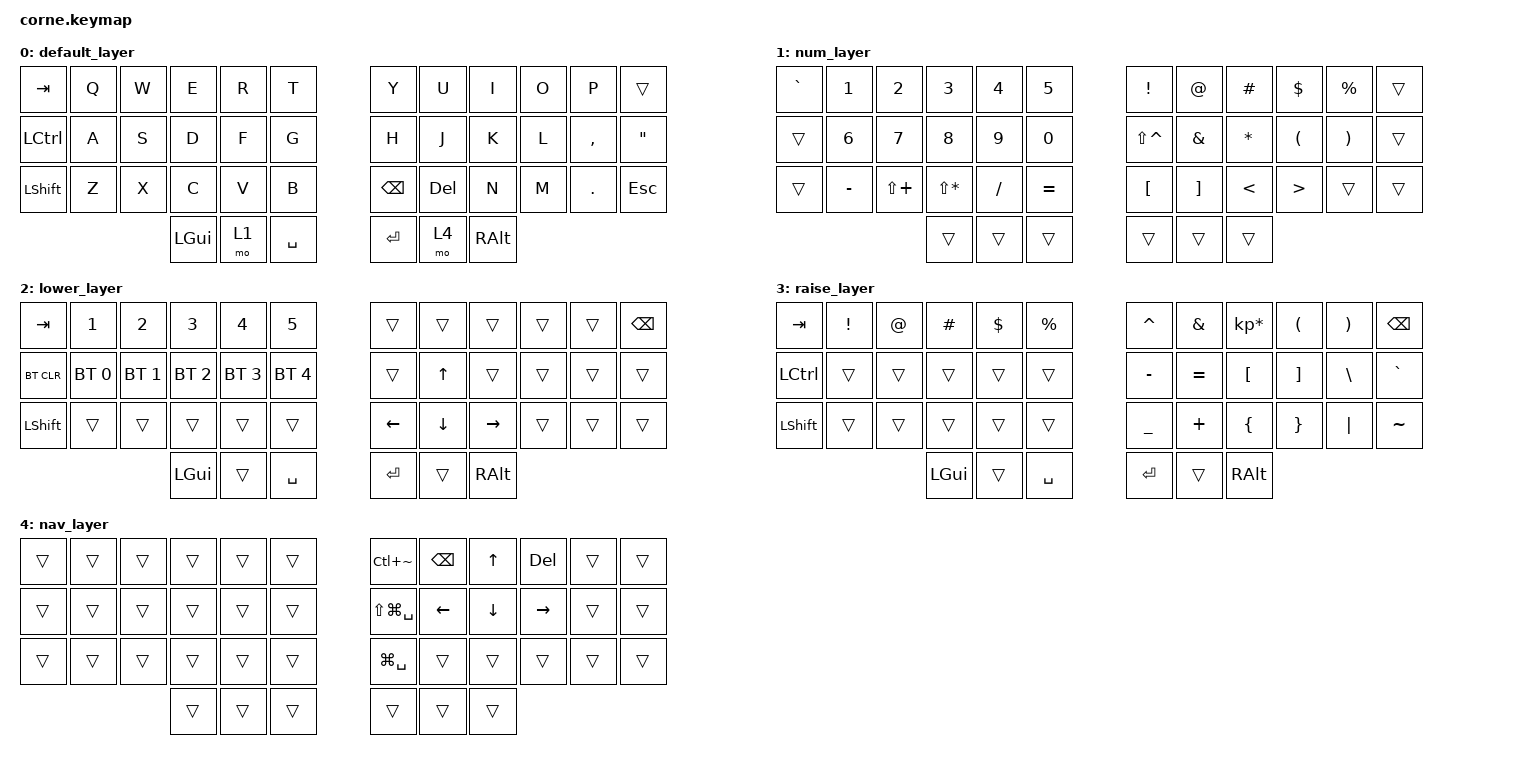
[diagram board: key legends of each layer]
/*
 * Copyright (c) 2020 The ZMK Contributors
 *
 * SPDX-License-Identifier: MIT
 */

#include <behaviors.dtsi>
#include <dt-bindings/zmk/bt.h>
#include <dt-bindings/zmk/keys.h>

#define DEFAULT 0
#define LOWER 1
#define RAISE 2

/ {
    keymap {
        compatible = "zmk,keymap";

        default_layer {
            // -----------------------------------------------------------------------------------------
            // |  TAB |  Q  |  W  |  E  |  R  |  T  |   |  Y  |  U   |  I  |  O  |  P  | BKSP |
            // | CTRL |  A  |  S  |  D  |  F  |  G  |   |  H  |  J   |  K  |  L  |  ;  |  '   |
            // | SHFT |  Z  |  X  |  C  |  V  |  B  |   |  N  |  M   |  ,  |  .  |  /  | ESC  |
            //                    | GUI | LWR | SPC |   | ENT | RSE  | ALT |

            bindings = <
&kp TAB    &kp Q  &kp W  &kp E     &kp R  &kp T        &kp Y     &kp U    &kp I     &kp O  &kp P      &trans
&kp LCTRL  &kp A  &kp S  &kp D     &kp F  &kp G        &kp H     &kp J    &kp K     &kp L  &kp COMMA  &kp DOUBLE_QUOTES
&kp LSHFT  &kp Z  &kp X  &kp C     &kp V  &kp B        &kp BSPC  &kp DEL  &kp N     &kp M  &kp DOT    &kp ESC
                         &kp LGUI  &mo 1  &kp SPACE    &kp RET   &mo 4    &kp RALT
            >;
        };

        num_layer {
            bindings = <
&kp GRAVE  &kp N1     &kp N2        &kp N3        &kp N4    &kp N5       &kp EXCLAMATION  &kp AT_SIGN        &kp POUND      &kp DOLLAR            &kp PERCENT            &trans
&trans     &kp N6     &kp N7        &kp N8        &kp N9    &kp N0       &kp LS(CARET)    &kp AMPERSAND      &kp ASTRK      &kp LEFT_PARENTHESIS  &kp RIGHT_PARENTHESIS  &trans
&trans     &kp MINUS  &kp LS(PLUS)  &kp LS(STAR)  &kp FSLH  &kp EQUAL    &kp LBKT         &kp RIGHT_BRACKET  &kp LESS_THAN  &kp GREATER_THAN      &trans                 &trans
                                    &trans        &trans    &trans       &trans           &trans             &trans
            >;
        };

        lower_layer {
            // -----------------------------------------------------------------------------------------
            // |  TAB |  1  |  2  |  3  |  4  |  5  |   |  6  |  7  |  8  |  9  |  0  | BKSP |
            // | BTCLR| BT1 | BT2 | BT3 | BT4 | BT5 |   |     | UP  |     |     |     |      |
            // | SHFT |     |     |     |     |     |   | LFT | DWN | RGT |     |     |      |
            //                    | GUI |     | SPC |   | ENT |     | ALT |

            bindings = <
&kp TAB     &kp N1        &kp N2        &kp N3        &kp N4        &kp N5          &trans    &trans    &trans     &trans  &trans  &kp BSPC
&bt BT_CLR  &bt BT_SEL 0  &bt BT_SEL 1  &bt BT_SEL 2  &bt BT_SEL 3  &bt BT_SEL 4    &trans    &kp UP    &trans     &trans  &trans  &trans
&kp LSHFT   &trans        &trans        &trans        &trans        &trans          &kp LEFT  &kp DOWN  &kp RIGHT  &trans  &trans  &trans
                                        &kp LGUI      &trans        &kp SPACE       &kp RET   &trans    &kp RALT
            >;
        };

        raise_layer {
            // -----------------------------------------------------------------------------------------
            // |  TAB |  !  |  @  |  #  |  $  |  %  |   |  ^  |  &  |  *  |  (  |  )  | BKSP |
            // | CTRL |     |     |     |     |     |   |  -  |  =  |  [  |  ]  |  \  |  `   |
            // | SHFT |     |     |     |     |     |   |  _  |  +  |  {  |  }  | "|" |  ~   |
            //                    | GUI |     | SPC |   | ENT |     | ALT |

            bindings = <
&kp TAB    &kp EXCL  &kp AT  &kp HASH  &kp DLLR  &kp PRCNT    &kp CARET  &kp AMPS   &kp KP_MULTIPLY  &kp LPAR  &kp RPAR  &kp BSPC
&kp LCTRL  &trans    &trans  &trans    &trans    &trans       &kp MINUS  &kp EQUAL  &kp LBKT         &kp RBKT  &kp BSLH  &kp GRAVE
&kp LSHFT  &trans    &trans  &trans    &trans    &trans       &kp UNDER  &kp PLUS   &kp LBRC         &kp RBRC  &kp PIPE  &kp TILDE
                             &kp LGUI  &trans    &kp SPACE    &kp RET    &trans     &kp RALT
            >;
        };

        nav_layer {
            bindings = <
&trans  &trans  &trans  &trans  &trans  &trans    &kp LC(TILDE)      &kp BSPC  &kp UP    &kp DEL    &trans  &trans
&trans  &trans  &trans  &trans  &trans  &trans    &kp LS(LG(SPACE))  &kp LEFT  &kp DOWN  &kp RIGHT  &trans  &trans
&trans  &trans  &trans  &trans  &trans  &trans    &kp LG(SPACE)      &trans    &trans    &trans     &trans  &trans
                        &trans  &trans  &trans    &trans             &trans    &trans
            >;
        };
    };
};
